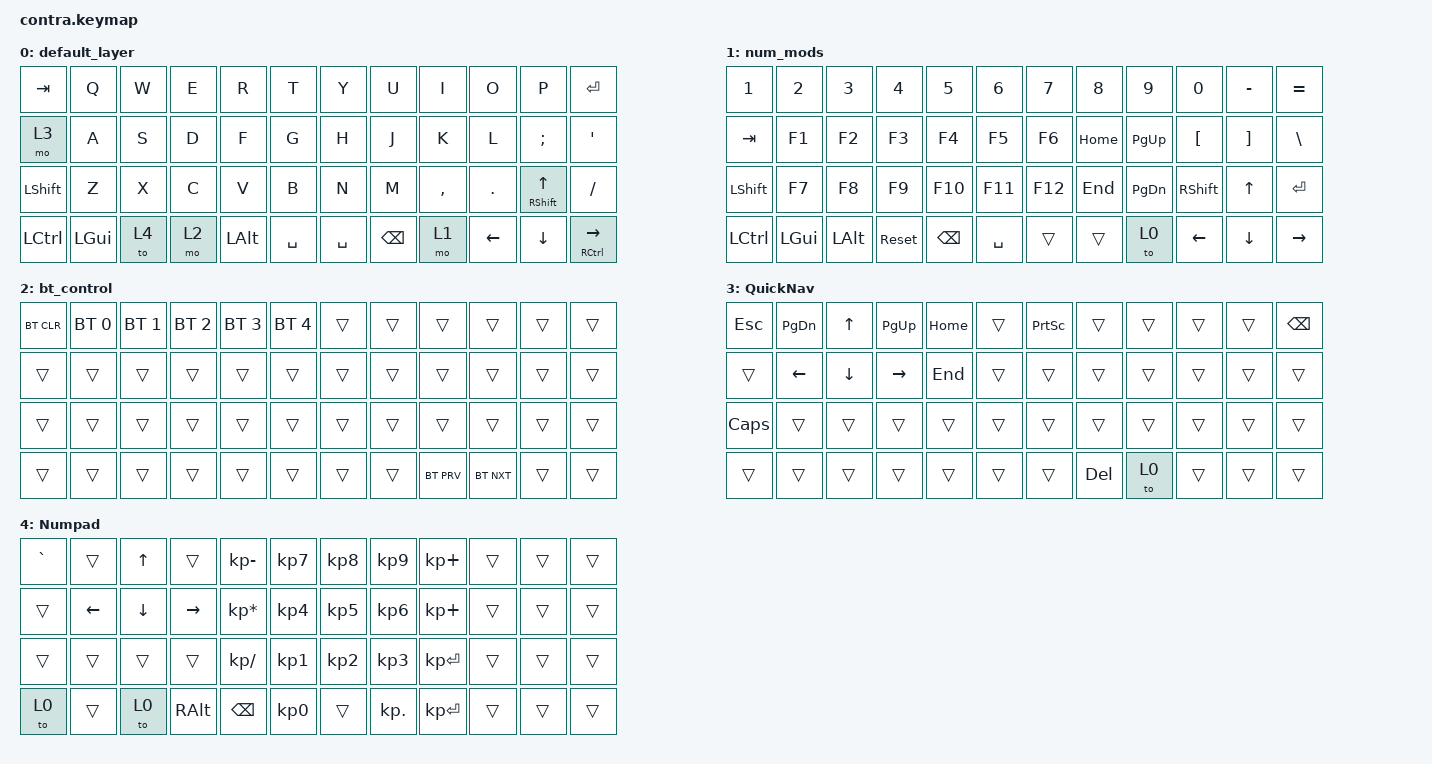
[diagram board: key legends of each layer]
/*
 * Copyright (c) 2021 The ZMK Contributors
 *
 * SPDX-License-Identifier: MIT
 */

#include <behaviors.dtsi>
#include <dt-bindings/zmk/bt.h>
#include <dt-bindings/zmk/keys.h>

#define DEFAULT  0
#define NUM_MODS 1
#define BT_CTRL  2
#define QuickNav 3
#define Numpad   4

/ {
    keymap {
        compatible = "zmk,keymap";

        default_layer {
            bindings = <
&kp TAB    &kp Q     &kp W  &kp E  &kp R         &kp T      &kp Y      &kp U          &kp I      &kp O           &kp P                     &kp ENTER
&mo 3      &kp A     &kp S  &kp D  &kp F         &kp G      &kp H      &kp J          &kp K      &kp L           &kp SEMI                  &kp SQT
&kp LSHFT  &kp Z     &kp X  &kp C  &kp V         &kp B      &kp N      &kp M          &kp COMMA  &kp DOT         &mt RIGHT_SHIFT UP_ARROW  &kp SLASH
&kp LCTRL  &kp LGUI  &to 4  &mo 2  &kp LEFT_ALT  &kp SPACE  &kp SPACE  &kp BACKSPACE  &mo 1      &kp LEFT_ARROW  &kp DOWN_ARROW            &mt RIGHT_CONTROL RIGHT_ARROW
            >;
        };

        num_mods {
            bindings = <
&kp NUMBER_1  &kp NUMBER_2  &kp NUMBER_3  &kp NUMBER_4  &kp NUMBER_5   &kp NUMBER_6  &kp N7   &kp N8    &kp N9     &kp N0           &kp MINUS       &kp EQUAL
&kp TAB       &kp F1        &kp F2        &kp F3        &kp F4         &kp F5        &kp F6   &kp HOME  &kp PG_UP  &kp LBKT         &kp RBKT        &kp BSLH
&kp LSHFT     &kp F7        &kp F8        &kp F9        &kp F10        &kp F11       &kp F12  &kp END   &kp PG_DN  &kp RIGHT_SHIFT  &kp UP_ARROW    &kp ENTER
&kp LCTRL     &kp LGUI      &kp LALT      &sys_reset    &kp BACKSPACE  &kp SPACE     &trans   &trans    &to 0      &kp LEFT         &kp DOWN_ARROW  &kp RIGHT_ARROW
            >;
        };

        bt_control {
            bindings = <
&bt BT_CLR  &bt BT_SEL 0  &bt BT_SEL 1  &bt BT_SEL 2  &bt BT_SEL 3  &bt BT_SEL 4  &trans  &trans  &trans      &trans      &trans  &trans
&trans      &trans        &trans        &trans        &trans        &trans        &trans  &trans  &trans      &trans      &trans  &trans
&trans      &trans        &trans        &trans        &trans        &trans        &trans  &trans  &trans      &trans      &trans  &trans
&trans      &trans        &trans        &trans        &trans        &trans        &trans  &trans  &bt BT_PRV  &bt BT_NXT  &trans  &trans
            >;
        };

        QuickNav {
            bindings = <
&kp ESC   &kp PAGE_DOWN   &kp UP_ARROW    &kp PAGE_UP      &kp HOME  &trans  &kp PRINTSCREEN  &trans      &trans  &trans  &trans  &kp BACKSPACE
&trans    &kp LEFT_ARROW  &kp DOWN_ARROW  &kp RIGHT_ARROW  &kp END   &trans  &trans           &trans      &trans  &trans  &trans  &trans
&kp CAPS  &trans          &trans          &trans           &trans    &trans  &trans           &trans      &trans  &trans  &trans  &trans
&trans    &trans          &trans          &trans           &trans    &trans  &trans           &kp DELETE  &to 0   &trans  &trans  &trans
            >;
        };

        Numpad {
            bindings = <
&kp GRAVE  &trans          &kp UP_ARROW    &trans           &kp KP_SUBTRACT  &kp KP_NUMBER_7  &kp KP_NUMBER_8  &kp KP_NUMBER_9  &kp KP_PLUS   &trans  &trans  &trans
&trans     &kp LEFT_ARROW  &kp DOWN_ARROW  &kp RIGHT_ARROW  &kp KP_MULTIPLY  &kp KP_NUMBER_4  &kp KP_NUMBER_5  &kp KP_NUMBER_6  &kp KP_PLUS   &trans  &trans  &trans
&trans     &trans          &trans          &trans           &kp KP_DIVIDE    &kp KP_NUMBER_1  &kp KP_NUMBER_2  &kp KP_NUMBER_3  &kp KP_ENTER  &trans  &trans  &trans
&to 0      &trans          &to 0           &kp RIGHT_ALT    &kp BACKSPACE    &kp KP_N0        &trans           &kp KP_DOT       &kp KP_ENTER  &trans  &trans  &trans
            >;
        };
    };
};
